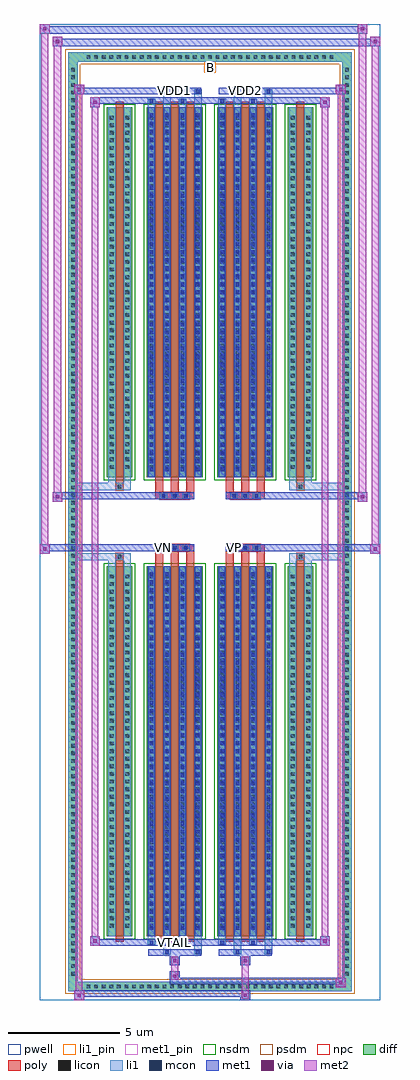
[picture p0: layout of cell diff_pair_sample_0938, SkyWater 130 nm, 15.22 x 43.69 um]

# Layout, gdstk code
import gdstk
lib = gdstk.Library(unit=1e-6, precision=5e-09)
def R(c, l, rs):  # rectangles x0, y0, x1, y1
    for r in rs: c.add(gdstk.rectangle(r[:2], r[2:], *l))
def A(c, l, x, y, w, h, nx, ny, dx, dy):  # array of equal rectangles
    R(c, l, [(x+i*dx, y+j*dy, x+i*dx+w, y+j*dy+h) for i in range(nx) for j in range(ny)])
def P(c, l, *ps):  # polygons
    for p in ps: c.add(gdstk.Polygon(p, *l))
pwell = (64, 44)
diff = (65, 20)
poly = (66, 20)
licon = (66, 44)
li1_pin = (67, 16)
li1 = (67, 20)
mcon = (67, 44)
met1_pin = (68, 16)
met1 = (68, 20)
via = (68, 44)
met2 = (69, 20)
nsdm = (93, 44)
psdm = (94, 20)
npc = (95, 20)

diff_pair_sample_0938 = lib.new_cell('diff_pair_sample_0938')
R(diff_pair_sample_0938, pwell, [(-7.61,-21.41,7.61,22.28), (-4.93,-19.6,-0.01,-0.8), (0.01,-19.6,4.93,-0.8), (-4.93,0.8,-0.01,19.6), (0.01,0.8,4.93,19.6)])
A(diff_pair_sample_0938, diff, -5.645, -21.01, 0.41, 0.41, 33, 2, 0.34, 41.61)
A(diff_pair_sample_0938, diff, -6.34, -20.435, 0.41, 0.41, 1, 120, 0, 0.34)
A(diff_pair_sample_0938, diff, 5.93, -20.435, 0.41, 0.41, 1, 120, 0, 0.34)
R(diff_pair_sample_0938, diff, [(-5.645,-21.01,5.645,-20.6), (-6.34,-20.435,-5.93,20.435), (5.93,-20.435,6.34,20.435), (-4.62,-18.555,-3.48,-1.985), (-2.84,-18.555,-0.32,-1.985), (0.32,-18.555,2.84,-1.985), (3.48,-18.555,4.62,-1.985), (-4.62,1.985,-3.48,18.555), (-2.84,1.985,-0.32,18.555), (0.32,1.985,2.84,18.555), (3.48,1.985,4.62,18.555), (-5.645,20.6,5.645,21.01)])
P(diff_pair_sample_0938, diff, [(6.34,21.01),(-6.34,21.01),(-6.34,-20.6),(-5.93,-20.6),(-5.93,20.6),(5.93,20.6),(5.93,-20.6),(-5.93,-20.6),(-6.34,-20.6),(-6.34,-21.01),(6.34,-21.01)])
A(diff_pair_sample_0938, poly, -2.45, -18.805, 0.36, 17.07, 3, 2, 0.69, 20.54)
A(diff_pair_sample_0938, poly, 0.71, -18.805, 0.36, 17.07, 3, 2, 0.69, 20.54)
A(diff_pair_sample_0938, poly, -2.45, -1.735, 0.36, 0.405, 3, 2, 0.69, 3.065)
A(diff_pair_sample_0938, poly, 0.71, -1.735, 0.36, 0.405, 3, 2, 0.69, 3.065)
A(diff_pair_sample_0938, poly, -2.245, -1.33, 0.33, 0.33, 3, 2, 0.5, 2.33)
A(diff_pair_sample_0938, poly, 0.915, -1.33, 0.33, 0.33, 3, 2, 0.5, 2.33)
R(diff_pair_sample_0938, poly, [(-4.23,-18.805,-3.87,-1.735), (3.87,-18.805,4.23,-1.735), (-4.215,-1.735,-3.885,-1.405), (-4.215,-1.735,-3.885,-1.405), (3.885,-1.735,4.215,-1.405), (3.885,-1.735,4.215,-1.405), (-2.45,-1.33,-0.71,-1), (0.71,-1.33,2.45,-1), (-2.45,1,-0.71,1.33), (0.71,1,2.45,1.33), (-4.215,1.405,-3.885,1.735), (-4.215,1.405,-3.885,1.735), (3.885,1.405,4.215,1.735), (3.885,1.405,4.215,1.735), (-4.23,1.735,-3.87,18.805), (3.87,1.735,4.23,18.805)])
A(diff_pair_sample_0938, licon, -5.525, -20.89, 0.17, 0.17, 33, 2, 0.34, 41.61)
A(diff_pair_sample_0938, licon, -6.22, -20.315, 0.17, 0.17, 1, 120, 0, 0.34)
A(diff_pair_sample_0938, licon, 6.05, -20.315, 0.17, 0.17, 1, 120, 0, 0.34)
A(diff_pair_sample_0938, licon, -4.48, -18.175, 0.17, 0.17, 1, 47, 0, 0.34)
A(diff_pair_sample_0938, licon, -3.79, -18.175, 0.17, 0.17, 1, 47, 0, 0.34)
A(diff_pair_sample_0938, licon, -2.7, -18.175, 0.17, 0.17, 4, 47, 0.69, 0.34)
A(diff_pair_sample_0938, licon, 0.46, -18.175, 0.17, 0.17, 4, 47, 0.69, 0.34)
A(diff_pair_sample_0938, licon, 3.62, -18.175, 0.17, 0.17, 1, 47, 0, 0.34)
A(diff_pair_sample_0938, licon, 4.31, -18.175, 0.17, 0.17, 1, 47, 0, 0.34)
A(diff_pair_sample_0938, licon, -2.165, -1.25, 0.17, 0.17, 3, 2, 0.5, 2.33)
A(diff_pair_sample_0938, licon, 0.995, -1.25, 0.17, 0.17, 3, 2, 0.5, 2.33)
A(diff_pair_sample_0938, licon, -4.48, 2.365, 0.17, 0.17, 1, 47, 0, 0.34)
A(diff_pair_sample_0938, licon, -3.79, 2.365, 0.17, 0.17, 1, 47, 0, 0.34)
A(diff_pair_sample_0938, licon, -2.7, 2.365, 0.17, 0.17, 4, 47, 0.69, 0.34)
A(diff_pair_sample_0938, licon, 0.46, 2.365, 0.17, 0.17, 4, 47, 0.69, 0.34)
A(diff_pair_sample_0938, licon, 3.62, 2.365, 0.17, 0.17, 1, 47, 0, 0.34)
A(diff_pair_sample_0938, licon, 4.31, 2.365, 0.17, 0.17, 1, 47, 0, 0.34)
R(diff_pair_sample_0938, licon, [(-4.135,-1.655,-3.965,-1.485), (3.965,-1.655,4.135,-1.485), (-4.135,1.485,-3.965,1.655), (3.965,1.485,4.135,1.655)])
R(diff_pair_sample_0938, li1_pin, [(-0.25,20.1,0.25,20.6)])
A(diff_pair_sample_0938, li1, -5.605, -20.97, 0.33, 0.33, 33, 2, 0.34, 41.61)
A(diff_pair_sample_0938, li1, -6.3, -20.395, 0.33, 0.33, 1, 120, 0, 0.34)
A(diff_pair_sample_0938, li1, 5.97, -20.395, 0.33, 0.33, 1, 120, 0, 0.34)
A(diff_pair_sample_0938, li1, -2.78, -18.555, 0.33, 16.57, 4, 2, 0.69, 20.54)
A(diff_pair_sample_0938, li1, 0.38, -18.555, 0.33, 16.57, 4, 2, 0.69, 20.54)
A(diff_pair_sample_0938, li1, -2.7, -18.275, 0.17, 0.17, 4, 45, 0.69, 0.36)
A(diff_pair_sample_0938, li1, -2.7, -18.275, 0.17, 16.01, 4, 2, 0.69, 20.54)
A(diff_pair_sample_0938, li1, 0.46, -18.275, 0.17, 0.17, 4, 45, 0.69, 0.36)
A(diff_pair_sample_0938, li1, 0.46, -18.275, 0.17, 16.01, 4, 2, 0.69, 20.54)
A(diff_pair_sample_0938, li1, -4.56, -18.255, 0.33, 0.33, 1, 47, 0, 0.34)
A(diff_pair_sample_0938, li1, -3.87, -18.255, 0.33, 0.33, 1, 47, 0, 0.34)
A(diff_pair_sample_0938, li1, -2.78, -18.255, 0.33, 0.33, 4, 47, 0.69, 0.34)
A(diff_pair_sample_0938, li1, 0.38, -18.255, 0.33, 0.33, 4, 47, 0.69, 0.34)
A(diff_pair_sample_0938, li1, 3.54, -18.255, 0.33, 0.33, 1, 47, 0, 0.34)
A(diff_pair_sample_0938, li1, 4.23, -18.255, 0.33, 0.33, 1, 47, 0, 0.34)
A(diff_pair_sample_0938, li1, -2.245, -1.33, 0.33, 0.33, 3, 2, 0.5, 2.33)
A(diff_pair_sample_0938, li1, 0.915, -1.33, 0.33, 0.33, 3, 2, 0.5, 2.33)
A(diff_pair_sample_0938, li1, -2.7, 2.265, 0.17, 0.17, 4, 45, 0.69, 0.36)
A(diff_pair_sample_0938, li1, 0.46, 2.265, 0.17, 0.17, 4, 45, 0.69, 0.36)
A(diff_pair_sample_0938, li1, -4.56, 2.285, 0.33, 0.33, 1, 47, 0, 0.34)
A(diff_pair_sample_0938, li1, -3.87, 2.285, 0.33, 0.33, 1, 47, 0, 0.34)
A(diff_pair_sample_0938, li1, -2.78, 2.285, 0.33, 0.33, 4, 47, 0.69, 0.34)
A(diff_pair_sample_0938, li1, 0.38, 2.285, 0.33, 0.33, 4, 47, 0.69, 0.34)
A(diff_pair_sample_0938, li1, 3.54, 2.285, 0.33, 0.33, 1, 47, 0, 0.34)
A(diff_pair_sample_0938, li1, 4.23, 2.285, 0.33, 0.33, 1, 47, 0, 0.34)
R(diff_pair_sample_0938, li1, [(-6.34,-21.01,-5.93,-20.6), (-6.34,-21.01,-5.93,-20.6), (-5.93,-21.01,5.93,-20.6), (5.93,-21.01,6.34,-20.6), (5.93,-21.01,6.34,-20.6), (-6.34,-20.6,-5.93,20.6), (5.93,-20.6,6.34,20.6), (-2.09,-19.36,-1.76,-18.555), (-2.01,-19.36,-1.84,-19.19), (-0.71,-19.36,-0.38,-18.555), (-0.63,-19.36,-0.46,-19.19), (1.07,-19.36,1.4,-18.555), (1.15,-19.36,1.32,-19.19), (2.45,-19.36,2.78,-18.555), (2.53,-19.36,2.7,-19.19), (-2.78,-18.93,-2.45,-18.555), (-2.7,-18.93,-2.53,-18.76), (-1.4,-18.93,-1.07,-18.555), (-1.32,-18.93,-1.15,-18.76), (0.38,-18.93,0.71,-18.555), (0.46,-18.93,0.63,-18.76), (1.76,-18.93,2.09,-18.555), (1.84,-18.93,2.01,-18.76), (-4.56,-18.555,-4.23,-1.985), (-3.87,-18.555,-3.54,-1.985), (3.54,-18.555,3.87,-1.985), (4.23,-18.555,4.56,-1.985), (-4.56,-1.985,-4.23,-1.405), (-3.87,-1.985,-3.54,-1.405), (3.54,-1.985,3.87,-1.405), (4.23,-1.985,4.56,-1.405), (-6.34,-1.735,-4.215,-1.405), (-4.56,-1.735,-4.215,-1.405), (-4.215,-1.735,-3.885,-1.405), (-3.885,-1.735,-3.54,-1.405), (3.54,-1.735,3.885,-1.405), (3.885,-1.735,4.215,-1.405), (3.885,-1.735,6.34,-1.405), (4.215,-1.735,4.56,-1.405), (-6.34,1.405,-4.215,1.735), (-4.56,1.405,-4.215,1.735), (-4.56,1.405,-4.23,1.985), (-4.215,1.405,-3.885,1.735), (-3.885,1.405,-3.54,1.735), (-3.87,1.405,-3.54,1.985), (3.54,1.405,3.885,1.735), (3.54,1.405,3.87,1.985), (3.885,1.405,4.215,1.735), (3.885,1.405,6.34,1.735), (4.215,1.405,4.56,1.735), (4.23,1.405,4.56,1.985), (-4.56,1.985,-4.23,18.555), (-3.87,1.985,-3.54,18.555), (3.54,1.985,3.87,18.555), (4.23,1.985,4.56,18.555), (-2.78,18.555,-2.45,18.93), (-2.09,18.555,-1.76,19.36), (-1.4,18.555,-1.07,18.93), (-0.71,18.555,-0.38,19.36), (0.38,18.555,0.71,18.93), (1.07,18.555,1.4,19.36), (1.76,18.555,2.09,18.93), (2.45,18.555,2.78,19.36), (-2.7,18.76,-2.53,18.93), (-1.32,18.76,-1.15,18.93), (0.46,18.76,0.63,18.93), (1.84,18.76,2.01,18.93), (-2.01,19.19,-1.84,19.36), (-0.63,19.19,-0.46,19.36), (1.15,19.19,1.32,19.36), (2.53,19.19,2.7,19.36), (-6.34,20.6,-5.93,21.01), (-6.34,20.6,-5.93,21.01), (-5.93,20.6,5.93,21.01), (5.93,20.6,6.34,21.01), (5.93,20.6,6.34,21.01)])
A(diff_pair_sample_0938, mcon, -2.7, -18.275, 0.17, 0.17, 4, 45, 0.69, 0.36)
A(diff_pair_sample_0938, mcon, 0.46, -18.275, 0.17, 0.17, 4, 45, 0.69, 0.36)
A(diff_pair_sample_0938, mcon, -2.165, -1.25, 0.17, 0.17, 3, 2, 0.5, 2.33)
A(diff_pair_sample_0938, mcon, 0.995, -1.25, 0.17, 0.17, 3, 2, 0.5, 2.33)
A(diff_pair_sample_0938, mcon, -2.7, 2.265, 0.17, 0.17, 4, 45, 0.69, 0.36)
A(diff_pair_sample_0938, mcon, 0.46, 2.265, 0.17, 0.17, 4, 45, 0.69, 0.36)
R(diff_pair_sample_0938, mcon, [(-2.01,-19.36,-1.84,-19.19), (-0.63,-19.36,-0.46,-19.19), (1.15,-19.36,1.32,-19.19), (2.53,-19.36,2.7,-19.19), (-2.7,-18.93,-2.53,-18.76), (-1.32,-18.93,-1.15,-18.76), (0.46,-18.93,0.63,-18.76), (1.84,-18.93,2.01,-18.76), (-2.7,18.76,-2.53,18.93), (-1.32,18.76,-1.15,18.93), (0.46,18.76,0.63,18.93), (1.84,18.76,2.01,18.93), (-2.01,19.19,-1.84,19.36), (-0.63,19.19,-0.46,19.36), (1.15,19.19,1.32,19.36), (2.53,19.19,2.7,19.36)])
R(diff_pair_sample_0938, met1_pin, [(-1.715,-18.97,-1.445,-18.7), (-2.215,-1.29,-1.945,-1.02), (0.945,-1.29,1.215,-1.02), (-1.715,19.15,-1.445,19.42), (1.445,19.15,1.715,19.42)])
A(diff_pair_sample_0938, met1, -2.76, -18.555, 0.29, 16.57, 4, 2, 0.69, 20.54)
A(diff_pair_sample_0938, met1, 0.4, -18.555, 0.29, 16.57, 4, 2, 0.69, 20.54)
A(diff_pair_sample_0938, met1, -2.76, -18.335, 0.29, 0.29, 4, 45, 0.69, 0.36)
A(diff_pair_sample_0938, met1, 0.4, -18.335, 0.29, 0.29, 4, 45, 0.69, 0.36)
A(diff_pair_sample_0938, met1, -2.225, -1.31, 0.29, 0.29, 3, 2, 0.5, 2.33)
A(diff_pair_sample_0938, met1, 0.935, -1.31, 0.29, 0.29, 3, 2, 0.5, 2.33)
A(diff_pair_sample_0938, met1, -2.76, 2.205, 0.29, 0.29, 4, 45, 0.69, 0.36)
A(diff_pair_sample_0938, met1, 0.4, 2.205, 0.29, 0.29, 4, 45, 0.69, 0.36)
R(diff_pair_sample_0938, met1, [(-6.07,-21.41,-5.64,-20.98), (1.365,-21.41,1.795,-20.98), (-6.07,-21.27,1.795,-20.98), (5.64,-20.84,6.07,-20.41), (-1.795,-20.7,6.07,-20.41), (-1.795,-20.56,-1.365,-20.13), (-1.795,-19.85,-1.365,-19.42), (1.365,-19.85,1.795,-19.42), (-2.76,-19.42,-0.4,-19.13), (-2.07,-19.42,-1.78,-19.13), (-0.69,-19.42,-0.4,-19.13), (0.4,-19.42,2.76,-19.13), (1.09,-19.42,1.38,-19.13), (2.47,-19.42,2.76,-19.13), (-5.36,-18.99,-4.93,-18.56), (-5.36,-18.99,-2.76,-18.7), (-2.76,-18.99,-2.47,-18.7), (-2.76,-18.99,-0.4,-18.7), (-1.38,-18.99,-1.09,-18.7), (-0.4,-18.99,0.4,-18.7), (0.4,-18.99,0.69,-18.7), (0.4,-18.99,2.76,-18.7), (1.78,-18.99,2.07,-18.7), (2.76,-18.99,5.36,-18.7), (4.93,-18.99,5.36,-18.56), (-7.61,-1.43,-7.18,-1), (7.18,-1.43,7.61,-1), (-7.61,-1.33,-0.71,-1), (-2.45,-1.33,-0.71,-1), (0.71,-1.33,2.45,-1), (0.71,-1.33,7.61,-1), (-7.04,0.9,-6.61,1.33), (6.61,0.9,7.04,1.33), (-7.04,1,-2.45,1.33), (-2.45,1,-0.71,1.33), (0.71,1,2.45,1.33), (2.45,1,7.04,1.33), (-5.36,18.56,-4.93,18.99), (4.93,18.56,5.36,18.99), (-5.36,18.7,-2.76,18.99), (-2.76,18.7,-2.47,18.99), (-2.76,18.7,-0.4,18.99), (-1.38,18.7,-1.09,18.99), (-0.4,18.7,0.4,18.99), (0.4,18.7,0.69,18.99), (0.4,18.7,2.76,18.99), (1.78,18.7,2.07,18.99), (2.76,18.7,5.36,18.99), (-6.07,19.13,-5.64,19.56), (-6.07,19.13,-2.76,19.42), (-2.76,19.13,-0.4,19.42), (-2.07,19.13,-1.78,19.42), (-0.69,19.13,-0.4,19.42), (0.4,19.13,2.76,19.42), (1.09,19.13,1.38,19.42), (2.47,19.13,2.76,19.42), (2.76,19.13,6.07,19.42), (5.64,19.13,6.07,19.56), (-7.04,21.28,-6.61,21.71), (-7.04,21.28,-4.93,21.61), (-4.93,21.28,4.93,21.61), (4.93,21.28,7.61,21.61), (7.18,21.28,7.61,21.71), (-7.61,21.85,-7.18,22.28), (-7.61,21.85,-4.93,22.18), (-4.93,21.85,4.93,22.18), (4.93,21.85,7.04,22.18), (6.61,21.85,7.04,22.28)])
R(diff_pair_sample_0938, via, [(-5.93,-21.27,-5.78,-21.12), (1.505,-21.27,1.655,-21.12), (5.78,-20.7,5.93,-20.55), (-1.655,-20.42,-1.505,-20.27), (-1.655,-19.71,-1.505,-19.56), (1.505,-19.71,1.655,-19.56), (-5.22,-18.85,-5.07,-18.7), (5.07,-18.85,5.22,-18.7), (-7.47,-1.29,-7.32,-1.14), (7.32,-1.29,7.47,-1.14), (-6.9,1.04,-6.75,1.19), (6.75,1.04,6.9,1.19), (-5.22,18.7,-5.07,18.85), (5.07,18.7,5.22,18.85), (-5.93,19.27,-5.78,19.42), (5.78,19.27,5.93,19.42), (-6.9,21.42,-6.75,21.57), (7.32,21.42,7.47,21.57), (-7.47,21.99,-7.32,22.14), (6.75,21.99,6.9,22.14)])
R(diff_pair_sample_0938, met2, [(-6.07,-21.41,-5.64,-20.98), (-6,-21.41,-5.71,19.56), (-5.71,-21.41,-5.64,-20.98), (-6.02,-21.36,-5.69,-21.03), (1.415,-21.36,1.745,-21.03), (1.415,-21.03,1.745,-19.8), (5.64,-20.84,6.07,-20.41), (5.71,-20.84,6,19.56), (6,-20.84,6.07,-20.41), (5.69,-20.79,6.02,-20.46), (-1.745,-20.51,-1.415,-20.18), (-1.745,-20.18,-1.415,-19.8), (-1.745,-19.8,-1.415,-19.47), (1.415,-19.8,1.745,-19.47), (-5.36,-18.99,-4.93,-18.56), (-5.29,-18.99,-5,18.99), (-5,-18.99,-4.93,-18.56), (4.93,-18.99,5.36,-18.56), (5,-18.99,5.29,18.99), (5.29,-18.99,5.36,-18.56), (-5.31,-18.94,-4.98,-18.61), (4.98,-18.94,5.31,-18.61), (-7.61,-1.43,-7.18,-1), (-7.56,-1.43,-7.23,22.28), (-7.23,-1.43,-7.18,-1), (7.18,-1.43,7.61,-1), (7.23,-1.43,7.56,21.71), (7.56,-1.43,7.61,-1), (-7.56,-1.38,-7.23,-1.05), (7.23,-1.38,7.56,-1.05), (-7.04,0.9,-6.61,1.33), (-6.99,0.9,-6.66,21.71), (-6.66,0.9,-6.61,1.33), (6.61,0.9,7.04,1.33), (6.66,0.9,6.99,22.28), (6.99,0.9,7.04,1.33), (-6.99,0.95,-6.66,1.28), (6.66,0.95,6.99,1.28), (-5.36,18.56,-4.93,18.99), (-5,18.56,-4.93,18.99), (4.93,18.56,5.36,18.99), (5.29,18.56,5.36,18.99), (-5.31,18.61,-4.98,18.94), (4.98,18.61,5.31,18.94), (-6.07,19.13,-5.64,19.56), (-5.71,19.13,-5.64,19.56), (5.64,19.13,6.07,19.56), (6,19.13,6.07,19.56), (-6.02,19.18,-5.69,19.51), (5.69,19.18,6.02,19.51), (-7.04,21.28,-6.61,21.71), (-6.66,21.28,-6.61,21.71), (7.18,21.28,7.61,21.71), (7.56,21.28,7.61,21.71), (-6.99,21.33,-6.66,21.66), (7.23,21.33,7.56,21.66), (-7.61,21.85,-7.18,22.28), (-7.23,21.85,-7.18,22.28), (6.61,21.85,7.04,22.28), (6.99,21.85,7.04,22.28), (-7.56,21.9,-7.23,22.23), (6.66,21.9,6.99,22.23)])
R(diff_pair_sample_0938, nsdm, [(-4.75,-18.685,-3.35,-1.855), (-2.97,-18.685,-0.19,-1.855), (0.19,-18.685,2.97,-1.855), (3.35,-18.685,4.75,-1.855), (-4.75,1.855,-3.35,18.685), (-2.97,1.855,-0.19,18.685), (0.19,1.855,2.97,18.685), (3.35,1.855,4.75,18.685)])
P(diff_pair_sample_0938, psdm, [(6.47,21.14),(-6.47,21.14),(-6.47,-20.47),(-5.8,-20.47),(-5.8,20.47),(5.8,20.47),(5.8,-20.47),(-5.8,-20.47),(-6.47,-20.47),(-6.47,-21.14),(6.47,-21.14)])
A(diff_pair_sample_0938, npc, -2.265, -1.35, 0.37, 0.37, 3, 2, 0.5, 2.33)
A(diff_pair_sample_0938, npc, 0.895, -1.35, 0.37, 0.37, 3, 2, 0.5, 2.33)
R(diff_pair_sample_0938, npc, [(-4.235,-1.755,-3.865,-1.385), (3.865,-1.755,4.235,-1.385), (-2.265,-1.35,-1.395,-0.98), (-2.265,-1.35,-1.395,-0.98), (-1.765,-1.35,-0.895,-0.98), (-1.765,-1.35,-0.895,-0.98), (0.895,-1.35,1.765,-0.98), (0.895,-1.35,1.765,-0.98), (1.395,-1.35,2.265,-0.98), (1.395,-1.35,2.265,-0.98), (-2.265,0.98,-1.395,1.35), (-2.265,0.98,-1.395,1.35), (-1.765,0.98,-0.895,1.35), (-1.765,0.98,-0.895,1.35), (0.895,0.98,1.765,1.35), (0.895,0.98,1.765,1.35), (1.395,0.98,2.265,1.35), (1.395,0.98,2.265,1.35), (-4.235,1.385,-3.865,1.755), (3.865,1.385,4.235,1.755)])
diff_pair_sample_0938.add(gdstk.Label('VTAIL', (-1.58,-18.835), layer=68, texttype=5))
diff_pair_sample_0938.add(gdstk.Label('VN', (-2.08,-1.155), layer=68, texttype=5))
diff_pair_sample_0938.add(gdstk.Label('VP', (1.08,-1.155), layer=68, texttype=5))
diff_pair_sample_0938.add(gdstk.Label('B', (0,20.35), layer=67, texttype=5))
diff_pair_sample_0938.add(gdstk.Label('VDD2', (1.58,19.285), layer=68, texttype=5))
diff_pair_sample_0938.add(gdstk.Label('VDD1', (-1.58,19.285), layer=68, texttype=5))

lib.write_gds('diff_pair_sample_0938.gds')
